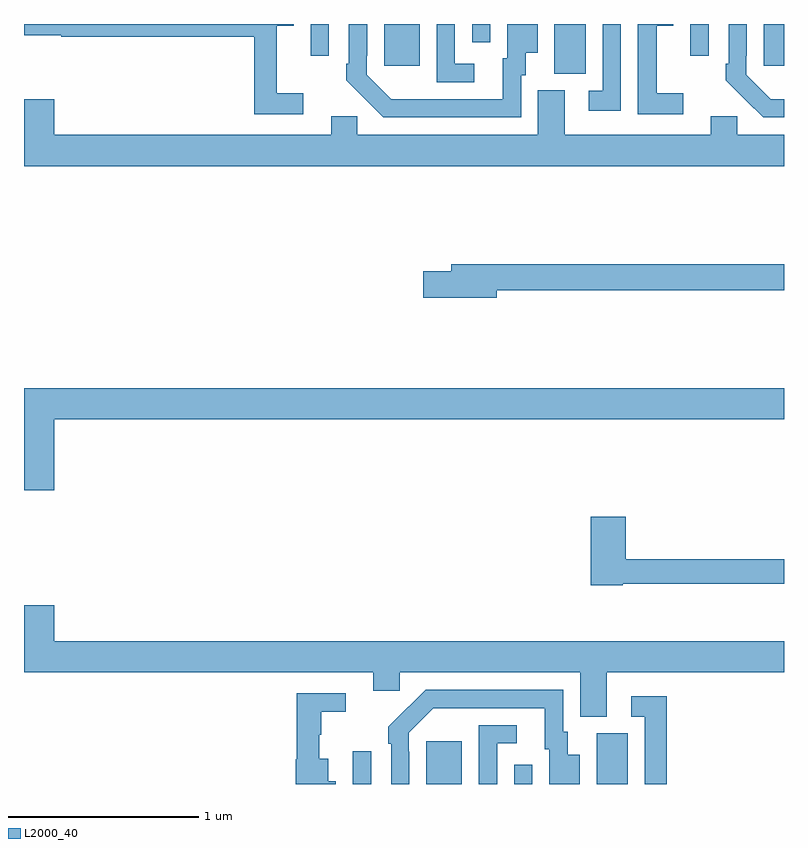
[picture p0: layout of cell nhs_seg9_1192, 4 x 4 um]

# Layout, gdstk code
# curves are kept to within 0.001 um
import gdstk
lib = gdstk.Library(unit=1e-6, precision=1e-09)
def R(c, l, rs):  # rectangles x0, y0, x1, y1
    for r in rs: c.add(gdstk.rectangle(r[:2], r[2:], *l))
def P(c, l, *ps):  # polygons
    for p in ps: c.add(gdstk.Polygon(p, *l))
L2000_40 = (2000, 40)

nhs_seg9_1192 = lib.new_cell('nhs_seg9_1192')
R(nhs_seg9_1192, L2000_40, [(178.731,1194.5,178.827,1194.673), (179.117,1194.5,179.305,1194.724), (179.58,1194.5,179.676,1194.601), (180.014,1194.5,180.178,1194.768), (179.792,1198.237,179.956,1198.5), (178.895,1198.281,179.083,1198.5), (180.893,1198.281,181,1198.5), (178.509,1198.332,178.605,1198.5), (180.507,1198.332,180.603,1198.5), (179.358,1198.404,179.454,1198.5)])
P(nhs_seg9_1192, L2000_40, [(179.616,1198.23),(179.641,1198.23),(179.641,1198.349),(179.704,1198.349),(179.704,1198.5),(179.543,1198.5),(179.543,1198.32),(179.519,1198.32),(179.519,1198.104),(178.932,1198.105),(178.803,1198.233),(178.803,1198.333),(178.806,1198.333),(178.806,1198.5),(178.71,1198.5),(178.71,1198.291),(178.695,1198.291),(178.695,1198.203),(178.892,1198.008),(179.616,1198.008)],
  [(181,1198.105),(180.93,1198.105),(180.801,1198.233),(180.801,1198.333),(180.804,1198.333),(180.804,1198.5),(180.708,1198.5),(180.708,1198.291),(180.693,1198.291),(180.693,1198.203),(180.89,1198.008),(181,1198.008)],
  [(180.469,1198.135),(180.329,1198.135),(180.329,1198.49),(180.418,1198.49),(180.418,1198.5),(180.231,1198.5),(180.231,1198.026),(180.469,1198.026)],
  [(179.371,1198.29),(179.268,1198.29),(179.268,1198.5),(179.172,1198.5),(179.172,1198.194),(179.371,1198.194)],
  [(180.141,1198.5),(180.045,1198.5),(180.045,1198.149),(179.973,1198.149),(179.973,1198.044),(180.141,1198.044)],
  [(178.471,1198.135),(178.331,1198.135),(178.331,1198.49),(178.42,1198.49),(178.42,1198.5),(177,1198.5),(177,1198.44),(177.195,1198.44),(177.195,1198.432),(178.213,1198.432),(178.213,1198.026),(178.471,1198.026)],
  [(181,1197.916),(180.753,1197.916),(180.753,1198.014),(180.614,1198.014),(180.614,1197.916),(179.845,1197.916),(179.845,1198.152),(179.705,1198.152),(179.705,1197.916),(178.755,1197.916),(178.755,1198.014),(178.616,1198.014),(178.616,1197.916),(177.16,1197.916),(177.16,1198.105),(177,1198.105),(177,1197.752),(181,1197.752)],
  [(179.488,1197.1),(181,1197.1),(181,1197.236),(179.249,1197.236),(179.249,1197.2),(179.1,1197.2),(179.1,1197.058),(179.488,1197.058)],
  [(177.16,1196.42),(181,1196.42),(181,1196.584),(177,1196.584),(177,1196.046),(177.16,1196.046)],
  [(180.15,1195.554),(181,1195.554),(181,1195.682),(180.167,1195.682),(180.167,1195.906),(179.984,1195.906),(179.984,1195.546),(180.15,1195.546)],
  [(180.067,1195.088),(181,1195.088),(181,1195.252),(177.16,1195.252),(177.16,1195.441),(177,1195.441),(177,1195.088),(178.838,1195.088),(178.838,1194.99),(178.977,1194.99),(178.977,1195.088),(179.927,1195.088),(179.927,1194.853),(180.067,1194.853)],
  [(179.028,1194.671),(179.025,1194.671),(179.025,1194.771),(179.154,1194.9),(179.741,1194.9),(179.741,1194.684),(179.765,1194.684),(179.765,1194.5),(179.926,1194.5),(179.926,1194.655),(179.863,1194.655),(179.863,1194.774),(179.838,1194.774),(179.838,1194.996),(179.114,1194.996),(178.917,1194.801),(178.917,1194.713),(178.932,1194.713),(178.932,1194.5),(179.028,1194.5)],
  [(178.642,1194.514),(178.6,1194.514),(178.6,1194.634),(178.553,1194.634),(178.553,1194.758),(178.564,1194.758),(178.564,1194.88),(178.693,1194.88),(178.693,1194.978),(178.435,1194.978),(178.435,1194.63),(178.43,1194.63),(178.43,1194.5),(178.642,1194.5)],
  [(180.383,1194.961),(180.195,1194.961),(180.195,1194.855),(180.267,1194.855),(180.267,1194.5),(180.383,1194.5)],
  [(179.49,1194.714),(179.593,1194.714),(179.593,1194.81),(179.394,1194.81),(179.394,1194.5),(179.49,1194.5)])

lib.write_gds('nhs_seg9_1192.gds')
